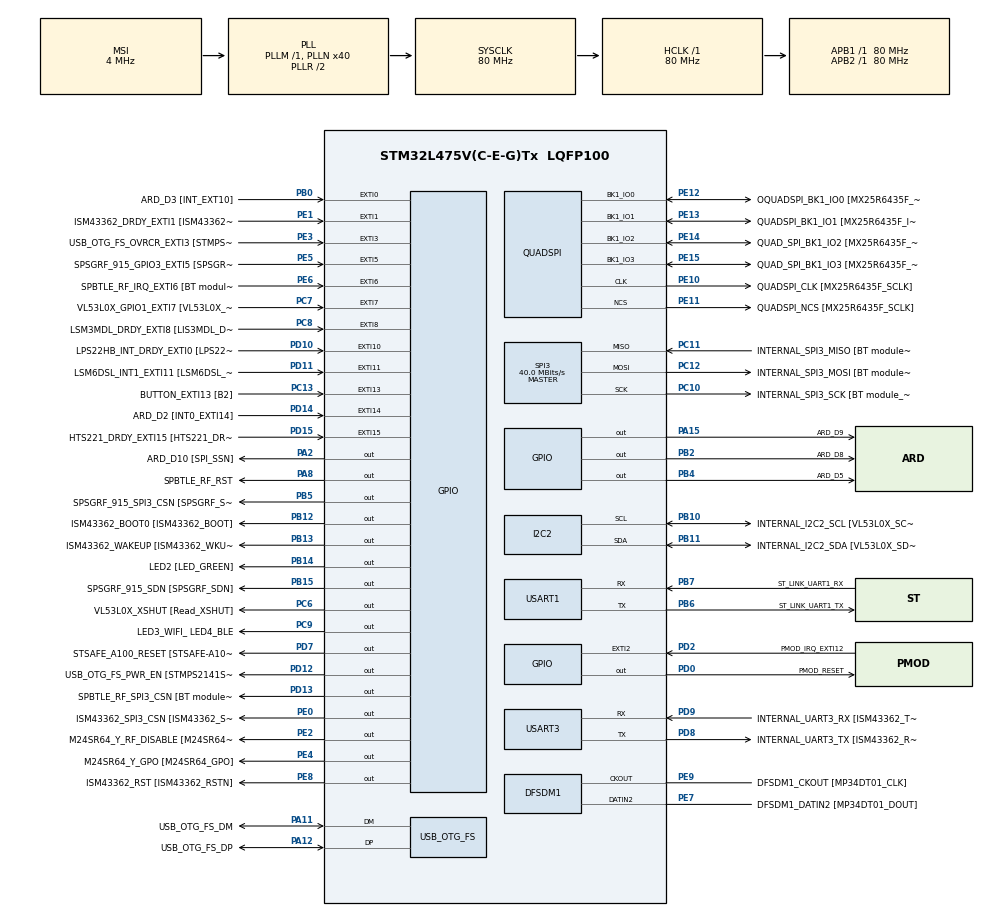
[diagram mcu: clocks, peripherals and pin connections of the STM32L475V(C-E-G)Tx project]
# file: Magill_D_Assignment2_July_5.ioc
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PD12.GPIO_Label=USB_OTG_FS_PWR_EN [STMPS2141STR_EN]
SPI3.Direction=SPI_DIRECTION_2LINES
SPI3.VirtualType=VM_MASTER
QUADSPI.ClockPrescaler=2
PB10.Mode=I2C
PC12.Signal=SPI3_MOSI
PB14.GPIO_Label=LED2 [LED_GREEN]
PC6.GPIO_Label=VL53L0X_XSHUT [Read_XSHUT]
PA6.GPIO_Label=ARD_D12 [SPI1_MISO]
PB6.GPIO_Label=ST_LINK_UART1_TX
PA15\ (JTDI).Signal=GPIO_Output
PC15-OSC32_OUT\ (PC15).Mode=LSE-External-Oscillator
PB13.Signal=GPIO_Output
PD6.GPIO_Label=PMOD_UART2_RX
PE6.GPIO_Label=SPBTLE_RF_IRQ_EXTI6 [BT module_SPI_IRQ]
RCC.SYSCLKSource=RCC_SYSCLKSOURCE_PLLCLK
PC14-OSC32_IN\ (PC14).Mode=LSE-External-Oscillator
SH.ADCx_IN16.0=ADC1_IN16
USART3.VirtualMode-Asynchronous=VM_ASYNC
PA14\ (JTCK-SWCLK).Signal=SYS_JTCK-SWCLK
PD4.Signal=USART2_RTS
RCC.APB2TimFreq_Value=80000000
PB6.Signal=USART1_TX
PC7.Signal=GPXTI7
PB6.Mode=Asynchronous
PC3.Signal=ADCx_IN4
PD0.Signal=GPIO_Output
PD8.Signal=USART3_TX
PE5.Signal=GPXTI5
PE1.Signal=GPXTI1
QUADSPI.FlashSize=23
NVIC.EXTI15_10_IRQn=true\:0\:0\:false\:false\:true\:true\:true
PB2.Signal=GPIO_Output
PD1.GPIO_Label=PMOD_SPI2_SCK
PB12.GPIO_Label=ISM43362_BOOT0 [ISM43362_BOOT]
PC4.GPIO_Label=ARD_A1 [ADC]
PE9.Signal=S_CKOUTDFSDM1
PB1.GPIO_Label=ARD_D6 [ADC1_IN6]
PE4.GPIO_Label=M24SR64_Y_GPO [M24SR64_GPO]
PE2.Signal=GPIO_Output
PA8.Signal=GPIO_Output
PE13.Mode=Single Bank
PE10.Signal=QUADSPI_CLK
PA0.Signal=UART4_TX
Mcu.Package=LQFP100
PB9.Signal=I2C1_SDA
PB1.Signal=ADCx_IN16
SPI3.Mode=SPI_MODE_MASTER
SH.ADCx_IN14.0=ADC1_IN14
PD12.Signal=GPIO_Output
PA10.Signal=USB_OTG_FS_ID
PE12.GPIO_Label=OQUADSPI_BK1_IO0 [MX25R6435F_IO0]
PC11.Mode=Full_Duplex_Master
SH.ADCx_IN9.0=ADC1_IN9
RCC.APB1TimFreq_Value=80000000
PA13\ (JTMS-SWDIO).Signal=SYS_JTMS-SWDIO
PE10.GPIO_Label=QUADSPI_CLK [MX25R6435F_SCLK]
PA4.GPIO_Label=ARD_D7
PD15.Signal=GPXTI15
PE12.Mode=Single Bank
PD9.GPIO_Label=INTERNAL_UART3_RX [ISM43362_TX]
PA9.GPIO_Label=USB_OTG_FS_VBUS [STMPS2141STR_OUT]
PC13.Signal=GPXTI13
PD3.Signal=USART2_CTS
PC6.Signal=GPIO_Output
PE10.Mode=Single Bank
PC2.Signal=ADCx_IN3
PB11.GPIO_Label=INTERNAL_I2C2_SDA [VL53L0X_SDA]
PD7.Signal=GPIO_Output
PD1.Signal=SPI2_SCK
PA11.GPIO_Label=USB_OTG_FS_DM
PC0.Signal=ADCx_IN1
PD10.Signal=GPXTI10
PB8.GPIO_Label=ARD_D15 [I2C1_SCL]
PA8.GPIO_Label=SPBTLE_RF_RST
PB11.Mode=I2C
PE8.GPIO_Label=ISM43362_RST [ISM43362_RSTN]
PA9.Signal=USB_OTG_FS_VBUS
PE9.GPIO_Label=DFSDM1_CKOUT [MP34DT01_CLK]
PD8.Mode=Asynchronous
PB10.Signal=I2C2_SCL
PB14.Signal=GPIO_Output
PA5.Signal=SPI1_SCK
PC12.Mode=Full_Duplex_Master
PE1.GPIO_Label=ISM43362_DRDY_EXTI1 [ISM43362_DATARDY]
PE14.Signal=QUADSPI_BK1_IO2
PE15.Signal=QUADSPI_BK1_IO3
PB15.GPIO_Label=SPSGRF_915_SDN [SPSGRF_SDN]
PE8.Signal=GPIO_Output
PA1.GPIO_Label=ARD_D0 [UART4_RX]
SH.ADCx_IN4.0=ADC1_IN4
QUADSPI.FifoThreshold=4
PC7.GPIO_Label=VL53L0X_GPIO1_EXTI7 [VL53L0X_GPIO1]
PA13\ (JTMS-SWDIO).Mode=Serial_Wire
PA4.Signal=ADCx_IN9
PB5.Signal=GPIO_Output
PE13.GPIO_Label=QUADSPI_BK1_IO1 [MX25R6435F_IO1]
PA5.GPIO_Label=ARD_D13 [SPI1_SCK]
PD11.Signal=GPXTI11
PE5.GPIO_Label=SPSGRF_915_GPIO3_EXTI5 [SPSGRF_GPIO_3]
PC12.GPIO_Label=INTERNAL_SPI3_MOSI [BT module_SPI_MOSI] [ISM43362_MOSI]
PA11.Signal=USB_OTG_FS_DM
ProjectManager.HeapSize=0x200
NVIC.PriorityGroup=NVIC_PRIORITYGROUP_4
PE3.Signal=GPXTI3
PC3.GPIO_Label=ARD_A2 [ADC]
PB4\ (NJTRST).GPIO_Label=ARD_D5
PD2.Signal=GPXTI2
PB0.Signal=GPXTI0
PC1.Signal=ADCx_IN2
PD2.GPIO_Label=PMOD_IRQ_EXTI12
PE15.Mode=Single Bank
Mcu.Family=STM32L4
RCC.CortexFreq_Value=80000000
PE11.GPIO_Label=QUADSPI_NCS [MX25R6435F_SCLK]
SH.ADCx_IN2.0=ADC1_IN2
PC10.Signal=SPI3_SCK
PA0.GPIO_Label=ARD_D1 [UART4_TX]
PC0.GPIO_Label=ARD_A5 [ADC]
PD0.GPIO_Label=PMOD_RESET
PA11.Mode=Device_Only
PB0.GPIO_Label=ARD_D3 [INT_EXT10]
PC13.GPIO_Label=BUTTON_EXTI13 [B2]
PB13.GPIO_Label=ISM43362_WAKEUP [ISM43362_WKUP]
PB11.Signal=I2C2_SDA
PB15.Signal=GPIO_Output
PD9.Mode=Asynchronous
ProjectManager.StackSize=0x400
PB3\ (JTDO-TRACESWO).Signal=SYS_JTDO-SWO
PD13.Signal=GPIO_Output
PA12.Signal=USB_OTG_FS_DP
PE11.Mode=Single Bank
PD11.GPIO_Label=LSM6DSL_INT1_EXTI11 [LSM6DSL_INT1]
RCC.HCLKFreq_Value=80000000
SH.ADCx_IN3.0=ADC1_IN3
PB5.PinState=GPIO_PIN_SET
RCC.AHBFreq_Value=80000000
RCC.HSE_VALUE=8000000
PE13.Signal=QUADSPI_BK1_IO1
PC11.GPIO_Label=INTERNAL_SPI3_MISO [BT module_SPI_MISO] [ISM43362_MISO]
PA10.GPIO_Label=USB_OTG_FS_ID
PB7.Signal=USART1_RX
PE4.Signal=GPIO_Output
QUADSPI.SampleShifting=QSPI_SAMPLE_SHIFTING_HALFCYCLE
PD7.GPIO_Label=STSAFE_A100_RESET [STSAFE-A100_RESET]
PB7.GPIO_Label=ST_LINK_UART1_RX
PD13.GPIO_Label=SPBTLE_RF_SPI3_CSN [BT module_SPI_CS]
PA6.Signal=SPI1_MISO
PD5.GPIO_Label=PMOD_UART2_TX
PA2.GPIO_Label=ARD_D10 [SPI_SSN]
USB_OTG_FS.VirtualMode=Device_Only
PE0.GPIO_Label=ISM43362_SPI3_CSN [ISM43362_SSN]
SH.ADCx_IN1.0=ADC1_IN1
PB5.GPIO_Label=SPSGRF_915_SPI3_CSN [SPSGRF_SPI_CS]
PC5.Signal=ADCx_IN14
PD3.GPIO_Label=PMOD_UART2_CTS
PE7.Signal=S_DATAIN2DFSDM1
PD6.Signal=USART2_RX
PE2.GPIO_Label=M24SR64_Y_RF_DISABLE [M24SR64_RFDIS]
PC2.GPIO_Label=ARD_A3 [ADC]
RCC.PLLSAI1N=24
PA3.Signal=S_TIM2_CH4
RCC.MSI_VALUE=4000000
PA14\ (JTCK-SWCLK).Mode=Serial_Wire
SH.ADCx_IN13.0=ADC1_IN13
PD15.GPIO_Label=HTS221_DRDY_EXTI15 [HTS221_DRDY]
PB9.GPIO_Label=ARD_D14 [I2C1_SDA]
PC10.GPIO_Label=INTERNAL_SPI3_SCK [BT module_SPI_SCLK] [ISM43362_SCK]
PC9.GPIO_Label=LED3_WIFI_ LED4_BLE
PC11.Signal=SPI3_MISO
PC8.Signal=GPXTI8
PC4.Signal=ADCx_IN13
PC10.Mode=Full_Duplex_Master
SH.S_DATAIN2DFSDM1.0=DFSDM1_DATIN2,PDM_SPI_Input_from_ch12_and_Internal_Clock
PE14.GPIO_Label=QUAD_SPI_BK1_IO2 [MX25R6435F_IO2]
PC15-OSC32_OUT\ (PC15).Signal=RCC_OSC32_OUT
PD9.Signal=USART3_RX
PD5.Signal=USART2_TX
PA14\ (JTCK-SWCLK).GPIO_Label=SYS_JTCK_SWCLK
PB3\ (JTDO-TRACESWO).GPIO_Label=SYS_JTD0_SWO
PA12.GPIO_Label=USB_OTG_FS_DP
PD8.GPIO_Label=INTERNAL_UART3_TX [ISM43362_RX]
PC8.GPIO_Label=LSM3MDL_DRDY_EXTI8 [LIS3MDL_DRDY]
USART1.VirtualMode-Asynchronous=VM_ASYNC
PE0.PinState=GPIO_PIN_SET
PE15.GPIO_Label=QUAD_SPI_BK1_IO3 [MX25R6435F_IO3]
ProjectManager.TargetToolchain=STM32CubeIDE
PB10.GPIO_Label=INTERNAL_I2C2_SCL [VL53L0X_SCL]
RCC.USBFreq_Value=48000000
PD10.GPIO_Label=LPS22HB_INT_DRDY_EXTI0 [LPS22HB_INT_DRDY] 
PE11.Signal=QUADSPI_NCS
PA1.Signal=UART4_RX
board=B-L475E-IOT01A1
RCC.VCOOutputFreq_Value=160000000
RCC.APB2Freq_Value=80000000
SPI3.CalculateBaudRate=40.0 MBits/s
PA13\ (JTMS-SWDIO).GPIO_Label=SYS_JTMS_SWDIO
PD4.GPIO_Label=PMOD_UART2_RTS
PE14.Mode=Single Bank
SH.S_CKOUTDFSDM1.0=DFSDM1_CKOUT,CKOUT
SH.S_CKOUTDFSDM1.1=DFSDM1_CKOUT,PDM_SPI_Input_from_ch12_and_Internal_Clock
RCC.ADCFreq_Value=48000000
PC1.GPIO_Label=ARD_A4 [ADC]
PD14.GPIO_Label=ARD_D2 [INT0_EXTI14]
PE6.Signal=GPXTI6
PA15\ (JTDI).GPIO_Label=ARD_D9
Mcu.Name=STM32L475V(C-E-G)Tx
PE0.Signal=GPIO_Output
PE7.GPIO_Label=DFSDM1_DATIN2 [MP34DT01_DOUT]
PE12.Signal=QUADSPI_BK1_IO0
PA2.Signal=GPIO_Output
PD14.Signal=GPXTI14
RCC.SYSCLKFreq_VALUE=80000000
PA7.GPIO_Label=ARD_D11 [SPI1_MOSI]
PA12.Mode=Device_Only
PC13.GPIO_ModeDefaultEXTI=GPIO_MODE_IT_FALLING
PC5.GPIO_Label=ARD_A0 [ADC]
PC14-OSC32_IN\ (PC14).Signal=RCC_OSC32_IN
PB7.Mode=Asynchronous
NVIC.EXTI9_5_IRQn=true\:0\:0\:false\:false\:true\:true\:true
PB2.GPIO_Label=ARD_D8
SH.S_TIM2_CH4.0=TIM2_CH4
RCC.HSI_VALUE=16000000
RCC.PLLN=40
PB8.Signal=I2C1_SCL
PE3.GPIO_Label=USB_OTG_FS_OVRCR_EXTI3 [STMPS2141STR_FAULT]
PC9.Signal=GPIO_Output
PD13.PinState=GPIO_PIN_SET
RCC.APB1Freq_Value=80000000
PB12.Signal=GPIO_Output
PA3.GPIO_Label=ARD_D4
PA7.Signal=SPI1_MOSI
PB4\ (NJTRST).Signal=GPIO_Output

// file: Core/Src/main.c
/* USER CODE BEGIN Header */
/**
  ******************************************************************************
  * @file           : main.c
  * @brief          : Main program body
  ******************************************************************************
  * @attention
  *
  * <h2><center>&copy; Copyright (c) 2021 STMicroelectronics.
  * All rights reserved.</center></h2>
  *
  * This software component is licensed by ST under BSD 3-Clause license,
  * the "License"; You may not use this file except in compliance with the
  * License. You may obtain a copy of the License at:
  *                        opensource.org/licenses/BSD-3-Clause
  *
  ******************************************************************************
  */
/* USER CODE END Header */
#include "main.h"

DFSDM_Channel_HandleTypeDef hdfsdm1_channel1;

I2C_HandleTypeDef hi2c2;

QSPI_HandleTypeDef hqspi;

SPI_HandleTypeDef hspi3;

UART_HandleTypeDef huart1;
UART_HandleTypeDef huart3;

PCD_HandleTypeDef hpcd_USB_OTG_FS;

/* USER CODE BEGIN PV */

/**
 * timeout used for uart delays.
 *
 * When switched from 1000ms to 10ms the out put looks okay if you press keys slowly
 * but if you press keys quickly the output becomes incorrect. I believe this happens
 * because the key presses are faster than the delay and we end up sending mulitple transmits
 * at the same time and the serial port recevier receives multiple inputs at the same time.
 */
uint16_t timeout = 10;
/* USER CODE END PV */

void SystemClock_Config(void);
static void MX_GPIO_Init(void);
static void MX_DFSDM1_Init(void);
static void MX_I2C2_Init(void);
static void MX_QUADSPI_Init(void);
static void MX_SPI3_Init(void);
static void MX_USART1_UART_Init(void);
static void MX_USART3_UART_Init(void);
static void MX_USB_OTG_FS_PCD_Init(void);
static void logMsg(UART_HandleTypeDef *huart, char out[], uint16_t bufferSize);
static char logGetMsg(UART_HandleTypeDef *huart);
static void noOp();

int main(void)
{

  /* MCU Configuration--------------------------------------------------------*/

  /* Reset of all peripherals, Initializes the Flash interface and the Systick. */
  HAL_Init();

  /* Configure the system clock */
  SystemClock_Config();

  /* Initialize all configured peripherals */
  MX_GPIO_Init();
  MX_DFSDM1_Init();
  MX_I2C2_Init();
  MX_QUADSPI_Init();
  MX_SPI3_Init();
  MX_USART1_UART_Init();
  MX_USART3_UART_Init();
  MX_USB_OTG_FS_PCD_Init();
  /* USER CODE BEGIN 2 */

  char welcome[] = "Welcome to Embedded Controller Programming\r\n";
  char greenMsg[] = "Enter g for toggling Green LED\r\n";
  char blueMsg[] = "Enter b for toggling Blue LED\r\n";
  char timeoutMsg[] = "Enter t to change timeout value to 1 ms\r\n";

  logMsg(&huart1, welcome, sizeof(welcome));
  logMsg(&huart1, greenMsg, sizeof(greenMsg));
  logMsg(&huart1, blueMsg, sizeof(blueMsg));
  logMsg(&huart1, timeoutMsg, sizeof(timeoutMsg));

  // we want green led to be off by default
  HAL_GPIO_WritePin(LED2_GPIO_Port, LED2_Pin, GPIO_PIN_RESET);
  /* USER CODE END 2 */

  /* Infinite loop */
  /* USER CODE BEGIN WHILE */
  while (1)
  {

	 char uart_rx = logGetMsg(&huart1);

	 // default
	 if (uart_rx == '\0') {
		 noOp();
	 }
	 // g: toggle green led
	 else if (uart_rx == 'g') {
		 char uart_tx[] = "Received char: g\r\n";
		 logMsg(&huart1, uart_tx, sizeof(uart_tx));
		 HAL_GPIO_TogglePin(LED2_GPIO_Port, LED2_Pin);
	 }
	 // b: toggle blue led
	 else if (uart_rx == 'b') {
 		 char uart_tx[] = "Received char: b\r\n";
 		 logMsg(&huart1, uart_tx, sizeof(uart_tx));
 		 HAL_GPIO_TogglePin(LED3_WIFI__LED4_BLE_GPIO_Port, LED3_WIFI__LED4_BLE_Pin);
	 }
	 /**
	  * t: switch timeout to 1ms
	  * observations: when timeout is set the serial output becomes garbled and is not
	  * clear to read. My thought on this is that when the timeout is set to 1ms the baud rate
	  * and the timeout does not match well causing the mixed up output also possibly there is a
	  * min speed for the uart to work and we are below that.
	  */
	 else if (uart_rx == 't') {
		 char uart_tx[] = "Received char: t\r\n";
 		 timeout = 1;
 		 logMsg(&huart1, uart_tx, sizeof(uart_tx));
	 } else {
 		 char uart_tx[] = "Unknown character received\r\n";
 		 logMsg(&huart1, uart_tx, sizeof(uart_tx));
	 }

    /* USER CODE END WHILE */

  }
}

/**
 * no operation function
 */
void noOp() {

}

/**
 * Log a message via UART peripheral
 */
void logMsg(UART_HandleTypeDef *huart, char out[], uint16_t bufferSize) {
	HAL_UART_Transmit(huart, (uint8_t *) out, bufferSize - 1, timeout);
}

/**
 * Get a messge via UART peripheral
 */
char logGetMsg(UART_HandleTypeDef *huart) {

	char buff = '\0';

	HAL_UART_Receive(huart, (uint8_t *) &buff, sizeof(buff), timeout);

	return buff;
}

void SystemClock_Config(void)
{
  RCC_OscInitTypeDef RCC_OscInitStruct = {0};
  RCC_ClkInitTypeDef RCC_ClkInitStruct = {0};
  RCC_PeriphCLKInitTypeDef PeriphClkInit = {0};

  /** Configure LSE Drive Capability
  */
  HAL_PWR_EnableBkUpAccess();
  __HAL_RCC_LSEDRIVE_CONFIG(RCC_LSEDRIVE_LOW);
  /** Initializes the RCC Oscillators according to the specified parameters
  * in the RCC_OscInitTypeDef structure.
  */
  RCC_OscInitStruct.OscillatorType = RCC_OSCILLATORTYPE_LSE|RCC_OSCILLATORTYPE_MSI;
  RCC_OscInitStruct.LSEState = RCC_LSE_ON;
  RCC_OscInitStruct.MSIState = RCC_MSI_ON;
  RCC_OscInitStruct.MSICalibrationValue = 0;
  RCC_OscInitStruct.MSIClockRange = RCC_MSIRANGE_6;
  RCC_OscInitStruct.PLL.PLLState = RCC_PLL_ON;
  RCC_OscInitStruct.PLL.PLLSource = RCC_PLLSOURCE_MSI;
  RCC_OscInitStruct.PLL.PLLM = 1;
  RCC_OscInitStruct.PLL.PLLN = 40;
  RCC_OscInitStruct.PLL.PLLP = RCC_PLLP_DIV7;
  RCC_OscInitStruct.PLL.PLLQ = RCC_PLLQ_DIV2;
  RCC_OscInitStruct.PLL.PLLR = RCC_PLLR_DIV2;
  if (HAL_RCC_OscConfig(&RCC_OscInitStruct) != HAL_OK)
  {
    Error_Handler();
  }
  /** Initializes the CPU, AHB and APB buses clocks
  */
  RCC_ClkInitStruct.ClockType = RCC_CLOCKTYPE_HCLK|RCC_CLOCKTYPE_SYSCLK
                              |RCC_CLOCKTYPE_PCLK1|RCC_CLOCKTYPE_PCLK2;
  RCC_ClkInitStruct.SYSCLKSource = RCC_SYSCLKSOURCE_PLLCLK;
  RCC_ClkInitStruct.AHBCLKDivider = RCC_SYSCLK_DIV1;
  RCC_ClkInitStruct.APB1CLKDivider = RCC_HCLK_DIV1;
  RCC_ClkInitStruct.APB2CLKDivider = RCC_HCLK_DIV1;

  if (HAL_RCC_ClockConfig(&RCC_ClkInitStruct, FLASH_LATENCY_4) != HAL_OK)
  {
    Error_Handler();
  }
  PeriphClkInit.PeriphClockSelection = RCC_PERIPHCLK_USART1|RCC_PERIPHCLK_USART3
                              |RCC_PERIPHCLK_I2C2|RCC_PERIPHCLK_DFSDM1
                              |RCC_PERIPHCLK_USB;
  PeriphClkInit.Usart1ClockSelection = RCC_USART1CLKSOURCE_PCLK2;
  PeriphClkInit.Usart3ClockSelection = RCC_USART3CLKSOURCE_PCLK1;
  PeriphClkInit.I2c2ClockSelection = RCC_I2C2CLKSOURCE_PCLK1;
  PeriphClkInit.Dfsdm1ClockSelection = RCC_DFSDM1CLKSOURCE_PCLK;
  PeriphClkInit.UsbClockSelection = RCC_USBCLKSOURCE_PLLSAI1;
  PeriphClkInit.PLLSAI1.PLLSAI1Source = RCC_PLLSOURCE_MSI;
  PeriphClkInit.PLLSAI1.PLLSAI1M = 1;
  PeriphClkInit.PLLSAI1.PLLSAI1N = 24;
  PeriphClkInit.PLLSAI1.PLLSAI1P = RCC_PLLP_DIV7;
  PeriphClkInit.PLLSAI1.PLLSAI1Q = RCC_PLLQ_DIV2;
  PeriphClkInit.PLLSAI1.PLLSAI1R = RCC_PLLR_DIV2;
  PeriphClkInit.PLLSAI1.PLLSAI1ClockOut = RCC_PLLSAI1_48M2CLK;
  if (HAL_RCCEx_PeriphCLKConfig(&PeriphClkInit) != HAL_OK)
  {
    Error_Handler();
  }
  /** Configure the main internal regulator output voltage
  */
  if (HAL_PWREx_ControlVoltageScaling(PWR_REGULATOR_VOLTAGE_SCALE1) != HAL_OK)
  {
    Error_Handler();
  }
  /** Enable MSI Auto calibration
  */
  HAL_RCCEx_EnableMSIPLLMode();
}

static void MX_DFSDM1_Init(void)
{

  hdfsdm1_channel1.Instance = DFSDM1_Channel1;
  hdfsdm1_channel1.Init.OutputClock.Activation = ENABLE;
  hdfsdm1_channel1.Init.OutputClock.Selection = DFSDM_CHANNEL_OUTPUT_CLOCK_SYSTEM;
  hdfsdm1_channel1.Init.OutputClock.Divider = 2;
  hdfsdm1_channel1.Init.Input.Multiplexer = DFSDM_CHANNEL_EXTERNAL_INPUTS;
  hdfsdm1_channel1.Init.Input.DataPacking = DFSDM_CHANNEL_STANDARD_MODE;
  hdfsdm1_channel1.Init.Input.Pins = DFSDM_CHANNEL_FOLLOWING_CHANNEL_PINS;
  hdfsdm1_channel1.Init.SerialInterface.Type = DFSDM_CHANNEL_SPI_RISING;
  hdfsdm1_channel1.Init.SerialInterface.SpiClock = DFSDM_CHANNEL_SPI_CLOCK_INTERNAL;
  hdfsdm1_channel1.Init.Awd.FilterOrder = DFSDM_CHANNEL_FASTSINC_ORDER;
  hdfsdm1_channel1.Init.Awd.Oversampling = 1;
  hdfsdm1_channel1.Init.Offset = 0;
  hdfsdm1_channel1.Init.RightBitShift = 0x00;
  if (HAL_DFSDM_ChannelInit(&hdfsdm1_channel1) != HAL_OK)
  {
    Error_Handler();
  }

}

static void MX_I2C2_Init(void)
{

  hi2c2.Instance = I2C2;
  hi2c2.Init.Timing = 0x00000E14;
  hi2c2.Init.OwnAddress1 = 0;
  hi2c2.Init.AddressingMode = I2C_ADDRESSINGMODE_7BIT;
  hi2c2.Init.DualAddressMode = I2C_DUALADDRESS_DISABLE;
  hi2c2.Init.OwnAddress2 = 0;
  hi2c2.Init.OwnAddress2Masks = I2C_OA2_NOMASK;
  hi2c2.Init.GeneralCallMode = I2C_GENERALCALL_DISABLE;
  hi2c2.Init.NoStretchMode = I2C_NOSTRETCH_DISABLE;
  if (HAL_I2C_Init(&hi2c2) != HAL_OK)
  {
    Error_Handler();
  }
  /** Configure Analogue filter
  */
  if (HAL_I2CEx_ConfigAnalogFilter(&hi2c2, I2C_ANALOGFILTER_ENABLE) != HAL_OK)
  {
    Error_Handler();
  }
  /** Configure Digital filter
  */
  if (HAL_I2CEx_ConfigDigitalFilter(&hi2c2, 0) != HAL_OK)
  {
    Error_Handler();
  }

}

static void MX_QUADSPI_Init(void)
{

  /* QUADSPI parameter configuration*/
  hqspi.Instance = QUADSPI;
  hqspi.Init.ClockPrescaler = 2;
  hqspi.Init.FifoThreshold = 4;
  hqspi.Init.SampleShifting = QSPI_SAMPLE_SHIFTING_HALFCYCLE;
  hqspi.Init.FlashSize = 23;
  hqspi.Init.ChipSelectHighTime = QSPI_CS_HIGH_TIME_1_CYCLE;
  hqspi.Init.ClockMode = QSPI_CLOCK_MODE_0;
  if (HAL_QSPI_Init(&hqspi) != HAL_OK)
  {
    Error_Handler();
  }

}

static void MX_SPI3_Init(void)
{

  /* SPI3 parameter configuration*/
  hspi3.Instance = SPI3;
  hspi3.Init.Mode = SPI_MODE_MASTER;
  hspi3.Init.Direction = SPI_DIRECTION_2LINES;
  hspi3.Init.DataSize = SPI_DATASIZE_4BIT;
  hspi3.Init.CLKPolarity = SPI_POLARITY_LOW;
  hspi3.Init.CLKPhase = SPI_PHASE_1EDGE;
  hspi3.Init.NSS = SPI_NSS_SOFT;
  hspi3.Init.BaudRatePrescaler = SPI_BAUDRATEPRESCALER_2;
  hspi3.Init.FirstBit = SPI_FIRSTBIT_MSB;
  hspi3.Init.TIMode = SPI_TIMODE_DISABLE;
  hspi3.Init.CRCCalculation = SPI_CRCCALCULATION_DISABLE;
  hspi3.Init.CRCPolynomial = 7;
  hspi3.Init.CRCLength = SPI_CRC_LENGTH_DATASIZE;
  hspi3.Init.NSSPMode = SPI_NSS_PULSE_ENABLE;
  if (HAL_SPI_Init(&hspi3) != HAL_OK)
  {
    Error_Handler();
  }

}

static void MX_USART1_UART_Init(void)
{

  huart1.Instance = USART1;
  huart1.Init.BaudRate = 115200;
  huart1.Init.WordLength = UART_WORDLENGTH_8B;
  huart1.Init.StopBits = UART_STOPBITS_1;
  huart1.Init.Parity = UART_PARITY_NONE;
  huart1.Init.Mode = UART_MODE_TX_RX;
  huart1.Init.HwFlowCtl = UART_HWCONTROL_NONE;
  huart1.Init.OverSampling = UART_OVERSAMPLING_16;
  huart1.Init.OneBitSampling = UART_ONE_BIT_SAMPLE_DISABLE;
  huart1.AdvancedInit.AdvFeatureInit = UART_ADVFEATURE_NO_INIT;
  if (HAL_UART_Init(&huart1) != HAL_OK)
  {
    Error_Handler();
  }

}

static void MX_USART3_UART_Init(void)
{

  huart3.Instance = USART3;
  huart3.Init.BaudRate = 115200;
  huart3.Init.WordLength = UART_WORDLENGTH_8B;
  huart3.Init.StopBits = UART_STOPBITS_1;
  huart3.Init.Parity = UART_PARITY_NONE;
  huart3.Init.Mode = UART_MODE_TX_RX;
  huart3.Init.HwFlowCtl = UART_HWCONTROL_NONE;
  huart3.Init.OverSampling = UART_OVERSAMPLING_16;
  huart3.Init.OneBitSampling = UART_ONE_BIT_SAMPLE_DISABLE;
  huart3.AdvancedInit.AdvFeatureInit = UART_ADVFEATURE_NO_INIT;
  if (HAL_UART_Init(&huart3) != HAL_OK)
  {
    Error_Handler();
  }

}

static void MX_USB_OTG_FS_PCD_Init(void)
{

  hpcd_USB_OTG_FS.Instance = USB_OTG_FS;
  hpcd_USB_OTG_FS.Init.dev_endpoints = 6;
  hpcd_USB_OTG_FS.Init.speed = PCD_SPEED_FULL;
  hpcd_USB_OTG_FS.Init.phy_itface = PCD_PHY_EMBEDDED;
  hpcd_USB_OTG_FS.Init.Sof_enable = DISABLE;
  hpcd_USB_OTG_FS.Init.low_power_enable = DISABLE;
  hpcd_USB_OTG_FS.Init.lpm_enable = DISABLE;
  hpcd_USB_OTG_FS.Init.battery_charging_enable = DISABLE;
  hpcd_USB_OTG_FS.Init.use_dedicated_ep1 = DISABLE;
  hpcd_USB_OTG_FS.Init.vbus_sensing_enable = DISABLE;
  if (HAL_PCD_Init(&hpcd_USB_OTG_FS) != HAL_OK)
  {
    Error_Handler();
  }

}

static void MX_GPIO_Init(void)
{
  GPIO_InitTypeDef GPIO_InitStruct = {0};

  /* GPIO Ports Clock Enable */
  __HAL_RCC_GPIOE_CLK_ENABLE();
  __HAL_RCC_GPIOC_CLK_ENABLE();
  __HAL_RCC_GPIOA_CLK_ENABLE();
  __HAL_RCC_GPIOB_CLK_ENABLE();
  __HAL_RCC_GPIOD_CLK_ENABLE();

  /*Configure GPIO pin Output Level */
  HAL_GPIO_WritePin(GPIOE, M24SR64_Y_RF_DISABLE_Pin|M24SR64_Y_GPO_Pin|ISM43362_RST_Pin, GPIO_PIN_RESET);

  /*Configure GPIO pin Output Level */
  HAL_GPIO_WritePin(GPIOA, ARD_D10_Pin|SPBTLE_RF_RST_Pin|ARD_D9_Pin, GPIO_PIN_RESET);

  /*Configure GPIO pin Output Level */
  HAL_GPIO_WritePin(GPIOB, ARD_D8_Pin|ISM43362_BOOT0_Pin|ISM43362_WAKEUP_Pin|LED2_Pin
                          |SPSGRF_915_SDN_Pin|ARD_D5_Pin, GPIO_PIN_RESET);

  /*Configure GPIO pin Output Level */
  HAL_GPIO_WritePin(GPIOD, USB_OTG_FS_PWR_EN_Pin|PMOD_RESET_Pin|STSAFE_A100_RESET_Pin, GPIO_PIN_RESET);

  /*Configure GPIO pin Output Level */
  HAL_GPIO_WritePin(SPBTLE_RF_SPI3_CSN_GPIO_Port, SPBTLE_RF_SPI3_CSN_Pin, GPIO_PIN_SET);

  /*Configure GPIO pin Output Level */
  HAL_GPIO_WritePin(GPIOC, VL53L0X_XSHUT_Pin|LED3_WIFI__LED4_BLE_Pin, GPIO_PIN_RESET);

  /*Configure GPIO pin Output Level */
  HAL_GPIO_WritePin(SPSGRF_915_SPI3_CSN_GPIO_Port, SPSGRF_915_SPI3_CSN_Pin, GPIO_PIN_SET);

  /*Configure GPIO pin Output Level */
  HAL_GPIO_WritePin(ISM43362_SPI3_CSN_GPIO_Port, ISM43362_SPI3_CSN_Pin, GPIO_PIN_SET);

  /*Configure GPIO pins : M24SR64_Y_RF_DISABLE_Pin M24SR64_Y_GPO_Pin ISM43362_RST_Pin ISM43362_SPI3_CSN_Pin */
  GPIO_InitStruct.Pin = M24SR64_Y_RF_DISABLE_Pin|M24SR64_Y_GPO_Pin|ISM43362_RST_Pin|ISM43362_SPI3_CSN_Pin;
  GPIO_InitStruct.Mode = GPIO_MODE_OUTPUT_PP;
  GPIO_InitStruct.Pull = GPIO_NOPULL;
  GPIO_InitStruct.Speed = GPIO_SPEED_FREQ_LOW;
  HAL_GPIO_Init(GPIOE, &GPIO_InitStruct);

  /*Configure GPIO pins : USB_OTG_FS_OVRCR_EXTI3_Pin SPSGRF_915_GPIO3_EXTI5_Pin SPBTLE_RF_IRQ_EXTI6_Pin ISM43362_DRDY_EXTI1_Pin */
  GPIO_InitStruct.Pin = USB_OTG_FS_OVRCR_EXTI3_Pin|SPSGRF_915_GPIO3_EXTI5_Pin|SPBTLE_RF_IRQ_EXTI6_Pin|ISM43362_DRDY_EXTI1_Pin;
  GPIO_InitStruct.Mode = GPIO_MODE_IT_RISING;
  GPIO_InitStruct.Pull = GPIO_NOPULL;
  HAL_GPIO_Init(GPIOE, &GPIO_InitStruct);

  /*Configure GPIO pin : BUTTON_EXTI13_Pin */
  GPIO_InitStruct.Pin = BUTTON_EXTI13_Pin;
  GPIO_InitStruct.Mode = GPIO_MODE_IT_FALLING;
  GPIO_InitStruct.Pull = GPIO_NOPULL;
  HAL_GPIO_Init(BUTTON_EXTI13_GPIO_Port, &GPIO_InitStruct);

  /*Configure GPIO pins : ARD_A5_Pin ARD_A4_Pin ARD_A3_Pin ARD_A2_Pin
                           ARD_A1_Pin ARD_A0_Pin */
  GPIO_InitStruct.Pin = ARD_A5_Pin|ARD_A4_Pin|ARD_A3_Pin|ARD_A2_Pin
                          |ARD_A1_Pin|ARD_A0_Pin;
  GPIO_InitStruct.Mode = GPIO_MODE_ANALOG_ADC_CONTROL;
  GPIO_InitStruct.Pull = GPIO_NOPULL;
  HAL_GPIO_Init(GPIOC, &GPIO_InitStruct);

  /*Configure GPIO pins : ARD_D1_Pin ARD_D0_Pin */
  GPIO_InitStruct.Pin = ARD_D1_Pin|ARD_D0_Pin;
  GPIO_InitStruct.Mode = GPIO_MODE_AF_PP;
  GPIO_InitStruct.Pull = GPIO_NOPULL;
  GPIO_InitStruct.Speed = GPIO_SPEED_FREQ_VERY_HIGH;
  GPIO_InitStruct.Alternate = GPIO_AF8_UART4;
  HAL_GPIO_Init(GPIOA, &GPIO_InitStruct);

  /*Configure GPIO pins : ARD_D10_Pin SPBTLE_RF_RST_Pin ARD_D9_Pin */
  GPIO_InitStruct.Pin = ARD_D10_Pin|SPBTLE_RF_RST_Pin|ARD_D9_Pin;
  GPIO_InitStruct.Mode = GPIO_MODE_OUTPUT_PP;
  GPIO_InitStruct.Pull = GPIO_NOPULL;
  GPIO_InitStruct.Speed = GPIO_SPEED_FREQ_LOW;
  HAL_GPIO_Init(GPIOA, &GPIO_InitStruct);

  /*Configure GPIO pin : ARD_D4_Pin */
  GPIO_InitStruct.Pin = ARD_D4_Pin;
  GPIO_InitStruct.Mode = GPIO_MODE_AF_PP;
  GPIO_InitStruct.Pull = GPIO_NOPULL;
  GPIO_InitStruct.Speed = GPIO_SPEED_FREQ_LOW;
  GPIO_InitStruct.Alternate = GPIO_AF1_TIM2;
  HAL_GPIO_Init(ARD_D4_GPIO_Port, &GPIO_InitStruct);

  /*Configure GPIO pin : ARD_D7_Pin */
  GPIO_InitStruct.Pin = ARD_D7_Pin;
  GPIO_InitStruct.Mode = GPIO_MODE_ANALOG_ADC_CONTROL;
  GPIO_InitStruct.Pull = GPIO_NOPULL;
  HAL_GPIO_Init(ARD_D7_GPIO_Port, &GPIO_InitStruct);

  /*Configure GPIO pins : ARD_D13_Pin ARD_D12_Pin ARD_D11_Pin */
  GPIO_InitStruct.Pin = ARD_D13_Pin|ARD_D12_Pin|ARD_D11_Pin;
  GPIO_InitStruct.Mode = GPIO_MODE_AF_PP;
  GPIO_InitStruct.Pull = GPIO_NOPULL;
  GPIO_InitStruct.Speed = GPIO_SPEED_FREQ_VERY_HIGH;
  GPIO_InitStruct.Alternate = GPIO_AF5_SPI1;
  HAL_GPIO_Init(GPIOA, &GPIO_InitStruct);

  /*Configure GPIO pin : ARD_D3_Pin */
  GPIO_InitStruct.Pin = ARD_D3_Pin;
  GPIO_InitStruct.Mode = GPIO_MODE_IT_RISING;
  GPIO_InitStruct.Pull = GPIO_NOPULL;
  HAL_GPIO_Init(ARD_D3_GPIO_Port, &GPIO_InitStruct);

  /*Configure GPIO pin : ARD_D6_Pin */
  GPIO_InitStruct.Pin = ARD_D6_Pin;
  GPIO_InitStruct.Mode = GPIO_MODE_ANALOG_ADC_CONTROL;
  GPIO_InitStruct.Pull = GPIO_NOPULL;
  HAL_GPIO_Init(ARD_D6_GPIO_Port, &GPIO_InitStruct);

  /*Configure GPIO pins : ARD_D8_Pin ISM43362_BOOT0_Pin ISM43362_WAKEUP_Pin LED2_Pin
                           SPSGRF_915_SDN_Pin ARD_D5_Pin SPSGRF_915_SPI3_CSN_Pin */
  GPIO_InitStruct.Pin = ARD_D8_Pin|ISM43362_BOOT0_Pin|ISM43362_WAKEUP_Pin|LED2_Pin
                          |SPSGRF_915_SDN_Pin|ARD_D5_Pin|SPSGRF_915_SPI3_CSN_Pin;
  GPIO_InitStruct.Mode = GPIO_MODE_OUTPUT_PP;
  GPIO_InitStruct.Pull = GPIO_NOPULL;
  GPIO_InitStruct.Speed = GPIO_SPEED_FREQ_LOW;
  HAL_GPIO_Init(GPIOB, &GPIO_InitStruct);

  /*Configure GPIO pins : LPS22HB_INT_DRDY_EXTI0_Pin LSM6DSL_INT1_EXTI11_Pin ARD_D2_Pin HTS221_DRDY_EXTI15_Pin
                           PMOD_IRQ_EXTI12_Pin */
  GPIO_InitStruct.Pin = LPS22HB_INT_DRDY_EXTI0_Pin|LSM6DSL_INT1_EXTI11_Pin|ARD_D2_Pin|HTS221_DRDY_EXTI15_Pin
                          |PMOD_IRQ_EXTI12_Pin;
  GPIO_InitStruct.Mode = GPIO_MODE_IT_RISING;
  GPIO_InitStruct.Pull = GPIO_NOPULL;
  HAL_GPIO_Init(GPIOD, &GPIO_InitStruct);

  /*Configure GPIO pins : USB_OTG_FS_PWR_EN_Pin SPBTLE_RF_SPI3_CSN_Pin PMOD_RESET_Pin STSAFE_A100_RESET_Pin */
  GPIO_InitStruct.Pin = USB_OTG_FS_PWR_EN_Pin|SPBTLE_RF_SPI3_CSN_Pin|PMOD_RESET_Pin|STSAFE_A100_RESET_Pin;
  GPIO_InitStruct.Mode = GPIO_MODE_OUTPUT_PP;
  GPIO_InitStruct.Pull = GPIO_NOPULL;
  GPIO_InitStruct.Speed = GPIO_SPEED_FREQ_LOW;
  HAL_GPIO_Init(GPIOD, &GPIO_InitStruct);

  /*Configure GPIO pins : VL53L0X_XSHUT_Pin LED3_WIFI__LED4_BLE_Pin */
  GPIO_InitStruct.Pin = VL53L0X_XSHUT_Pin|LED3_WIFI__LED4_BLE_Pin;
  GPIO_InitStruct.Mode = GPIO_MODE_OUTPUT_PP;
  GPIO_InitStruct.Pull = GPIO_NOPULL;
  GPIO_InitStruct.Speed = GPIO_SPEED_FREQ_LOW;
  HAL_GPIO_Init(GPIOC, &GPIO_InitStruct);

  /*Configure GPIO pins : VL53L0X_GPIO1_EXTI7_Pin LSM3MDL_DRDY_EXTI8_Pin */
  GPIO_InitStruct.Pin = VL53L0X_GPIO1_EXTI7_Pin|LSM3MDL_DRDY_EXTI8_Pin;
  GPIO_InitStruct.Mode = GPIO_MODE_IT_RISING;
  GPIO_InitStruct.Pull = GPIO_NOPULL;
  HAL_GPIO_Init(GPIOC, &GPIO_InitStruct);

  /*Configure GPIO pin : PMOD_SPI2_SCK_Pin */
  GPIO_InitStruct.Pin = PMOD_SPI2_SCK_Pin;
  GPIO_InitStruct.Mode = GPIO_MODE_AF_PP;
  GPIO_InitStruct.Pull = GPIO_NOPULL;
  GPIO_InitStruct.Speed = GPIO_SPEED_FREQ_VERY_HIGH;
  GPIO_InitStruct.Alternate = GPIO_AF5_SPI2;
  HAL_GPIO_Init(PMOD_SPI2_SCK_GPIO_Port, &GPIO_InitStruct);

  /*Configure GPIO pins : PMOD_UART2_CTS_Pin PMOD_UART2_RTS_Pin PMOD_UART2_TX_Pin PMOD_UART2_RX_Pin */
  GPIO_InitStruct.Pin = PMOD_UART2_CTS_Pin|PMOD_UART2_RTS_Pin|PMOD_UART2_TX_Pin|PMOD_UART2_RX_Pin;
  GPIO_InitStruct.Mode = GPIO_MODE_AF_PP;
  GPIO_InitStruct.Pull = GPIO_NOPULL;
  GPIO_InitStruct.Speed = GPIO_SPEED_FREQ_VERY_HIGH;
  GPIO_InitStruct.Alternate = GPIO_AF7_USART2;
  HAL_GPIO_Init(GPIOD, &GPIO_InitStruct);

  /*Configure GPIO pins : ARD_D15_Pin ARD_D14_Pin */
  GPIO_InitStruct.Pin = ARD_D15_Pin|ARD_D14_Pin;
  GPIO_InitStruct.Mode = GPIO_MODE_AF_OD;
  GPIO_InitStruct.Pull = GPIO_PULLUP;
  GPIO_InitStruct.Speed = GPIO_SPEED_FREQ_VERY_HIGH;
  GPIO_InitStruct.Alternate = GPIO_AF4_I2C1;
  HAL_GPIO_Init(GPIOB, &GPIO_InitStruct);

  /* EXTI interrupt init*/
  HAL_NVIC_SetPriority(EXTI9_5_IRQn, 0, 0);
  HAL_NVIC_EnableIRQ(EXTI9_5_IRQn);

  HAL_NVIC_SetPriority(EXTI15_10_IRQn, 0, 0);
  HAL_NVIC_EnableIRQ(EXTI15_10_IRQn);

}

void Error_Handler(void)
{
  __disable_irq();
  while (1)
  {
  }
}

/************************ (C) COPYRIGHT STMicroelectronics *****END OF FILE****/
;
